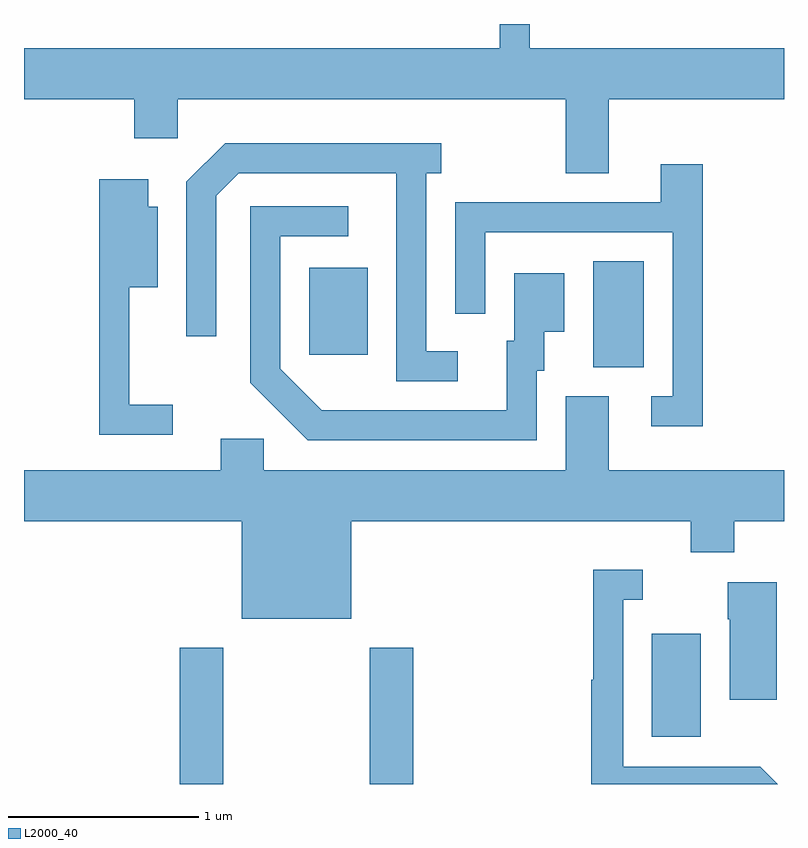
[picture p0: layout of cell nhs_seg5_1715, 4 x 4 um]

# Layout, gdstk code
import gdstk
lib = gdstk.Library(unit=1e-6, precision=1e-09)
def R(c, l, rs):  # rectangles x0, y0, x1, y1
    for r in rs: c.add(gdstk.rectangle(r[:2], r[2:], *l))
def P(c, l, *ps):  # polygons
    for p in ps: c.add(gdstk.Polygon(p, *l))
L2000_40 = (2000, 40)

nhs_seg5_1715 = lib.new_cell('nhs_seg5_1715')
R(nhs_seg5_1715, L2000_40, [(236.431,1462.072,236.659,1462.789), (237.431,1462.072,237.659,1462.789), (238.916,1462.321,239.174,1462.864), (238.606,1464.266,238.874,1464.824), (237.111,1464.331,237.419,1464.789)])
P(nhs_seg5_1715, L2000_40, [(238.689,1465.676),(239.611,1465.676),(239.611,1465.944),(238.274,1465.944),(238.274,1466.072),(238.116,1466.072),(238.116,1465.944),(235.611,1465.944),(235.611,1465.676),(236.191,1465.676),(236.191,1465.471),(236.419,1465.471),(236.419,1465.676),(238.461,1465.676),(238.461,1465.286),(238.689,1465.286)],
  [(237.893,1464.349),(237.729,1464.349),(237.729,1465.286),(237.808,1465.286),(237.808,1465.444),(236.669,1465.444),(236.466,1465.242),(236.466,1464.428),(236.624,1464.428),(236.624,1465.169),(236.742,1465.286),(237.571,1465.286),(237.571,1464.191),(237.893,1464.191)],
  [(239.184,1465.334),(238.961,1465.334),(238.961,1465.134),(237.881,1465.134),(237.881,1464.548),(238.039,1464.548),(238.039,1464.976),(239.026,1464.976),(239.026,1464.114),(238.913,1464.114),(238.913,1463.956),(239.184,1463.956)],
  [(236.393,1464.069),(236.164,1464.069),(236.164,1464.686),(236.314,1464.686),(236.314,1465.109),(236.264,1465.109),(236.264,1465.254),(236.006,1465.254),(236.006,1463.911),(236.393,1463.911)],
  [(238.309,1464.246),(238.349,1464.246),(238.349,1464.451),(238.454,1464.451),(238.454,1464.759),(238.191,1464.759),(238.191,1464.404),(238.151,1464.404),(238.151,1464.039),(237.177,1464.039),(236.959,1464.257),(236.959,1464.956),(237.318,1464.956),(237.318,1465.114),(236.801,1465.114),(236.801,1464.184),(237.104,1463.881),(238.309,1463.881)],
  [(237.334,1463.456),(239.121,1463.456),(239.121,1463.291),(239.349,1463.291),(239.349,1463.456),(239.611,1463.456),(239.611,1463.724),(238.689,1463.724),(238.689,1464.114),(238.461,1464.114),(238.461,1463.724),(236.874,1463.724),(236.874,1463.889),(236.646,1463.889),(236.646,1463.724),(235.611,1463.724),(235.611,1463.456),(236.756,1463.456),(236.756,1462.941),(237.334,1462.941)],
  [(239.487,1462.164),(238.764,1462.164),(238.764,1463.041),(238.868,1463.041),(238.868,1463.199),(238.606,1463.199),(238.606,1462.62),(238.596,1462.62),(238.596,1462.072),(239.579,1462.072)],
  [(239.574,1463.134),(239.316,1463.134),(239.316,1462.94),(239.326,1462.94),(239.326,1462.516),(239.574,1462.516)])

lib.write_gds('nhs_seg5_1715.gds')
